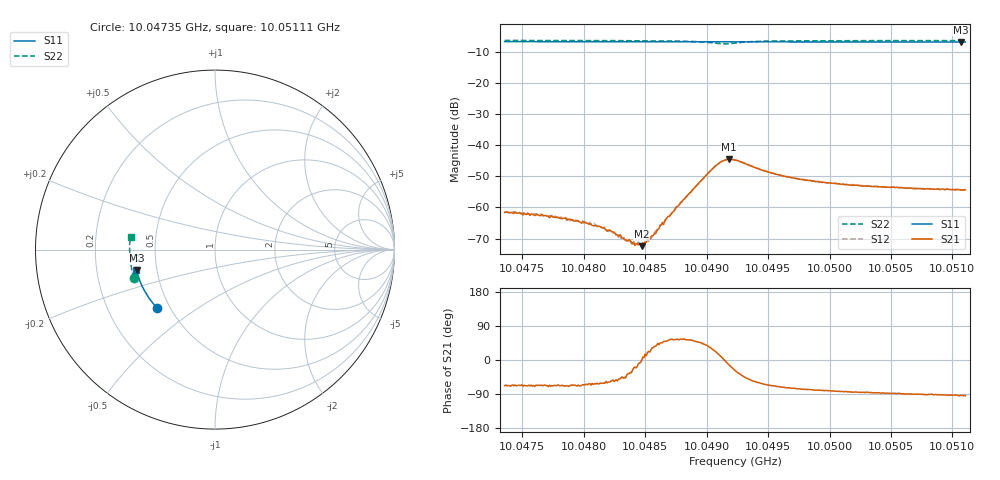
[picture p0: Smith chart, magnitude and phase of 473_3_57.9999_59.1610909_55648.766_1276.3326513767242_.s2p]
#  HZ  S  RI  R  50.00
! Rohde & Schwarz Vector Network Analyzer
! Rohde-Schwarz,ZNB20-2Port,1311601062101988,3.16
! Created: UTC 3/21/2024, 1:11:28 AM
! freq[Hz]  re:S11  im:S11  re:S21  im:S21  re:S12  im:S12  re:S22  im:S22
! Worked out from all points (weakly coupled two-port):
!   401 points, 10.04735 GHz to 10.05111 GHz, reference 50 ohm
!   highest |S21| = -44.54 dB at 10.04918 GHz (marker M1); lowest = -72.4 dB at 10.04847 GHz (marker M2)
!   lowest |S11| = -6.9 dB at 10.05107 GHz (marker M3), VSWR 2.65, Z = 19.1 - j5.57 ohm
!   |S11| at or under -10 dB: nowhere
!   |S22| runs from -7.5 to -6.4 dB; largest |S21 - S12| = 0.00042
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1.0047355e10  -0.3215 -0.3271  0.000313 -0.000769  0.00038 -0.000753  -0.4521 -0.1591
1.0047636e10  -0.3341 -0.3134  0.00029 -0.000687  0.000347 -0.00067  -0.4574 -0.1405
1.0047927e10  -0.3463 -0.2987  0.000245 -0.000551  0.000296 -0.000585  -0.4624 -0.1208
1.0047983e10  -0.3487 -0.2958  0.000225 -0.000513  0.000274 -0.000497  -0.4633 -0.1169
1.0048068e10  -0.3522 -0.2915  0.000243 -0.000452  0.000269 -0.000461  -0.4644 -0.1109
1.0048161e10  -0.3558 -0.2866  0.000228 -0.000417  0.000257 -0.000395  -0.4656 -0.1042
1.0048405e10  -0.3655 -0.2736  0.000259 -0.0001  0.000245 -0.000127  -0.4678 -0.0858
1.0048471e10  -0.3679 -0.2701  0.000239 -2.62e-06  0.000243 7.92e-06  -0.4683 -0.0806
1.004849e10  -0.3686 -0.269  0.000266 2.87e-05  0.000239 4.61e-05  -0.4683 -0.0789
1.0048546e10  -0.3708 -0.2659  0.000301 0.000151  0.000282 0.00014  -0.4684 -0.0742
1.0048612e10  -0.3732 -0.2623  0.000344 0.000295  0.000292 0.000347  -0.4682 -0.0685
1.0048752e10  -0.378 -0.2546  0.000587 0.000814  0.000537 0.000868  -0.4664 -0.0551
1.0049043e10  -0.3877 -0.2379  0.00354 0.002  0.00345 0.00227  -0.4374 -0.0286
1.0049118e10  -0.3899 -0.2339  0.00536 0.000819  0.00529 0.00112  -0.4226 -0.0382
1.0049184e10  -0.392 -0.2303  0.00576 -0.0014  0.00586 -0.00103  -0.4218 -0.0555
1.0049231e10  -0.3934 -0.2278  0.00511 -0.00269  0.00533 -0.00236  -0.43 -0.0641
1.0049568e10  -0.4039 -0.2082  0.00116 -0.00319  0.00138 -0.00313  -0.4694 -0.0415
1.0049859e10  -0.412 -0.1907  0.00053 -0.00262  0.000656 -0.00261  -0.4749 -0.0159
1.0050168e10  -0.4196 -0.172  0.00021 -0.00226  0.000397 -0.00229  -0.476 0.00769
1.0050487e10  -0.4267 -0.1524  8.5e-05 -0.00211  0.000182 -0.0021  -0.4753 0.0305
1.0051069e10  -0.437 -0.1158  -0.000113 -0.00189  -9.25e-06 -0.00191  -0.471 0.0701
1.0051106e10  -0.4377 -0.1134  -0.000148 -0.00192  -4.44e-05 -0.00191  -0.4705 0.0725
